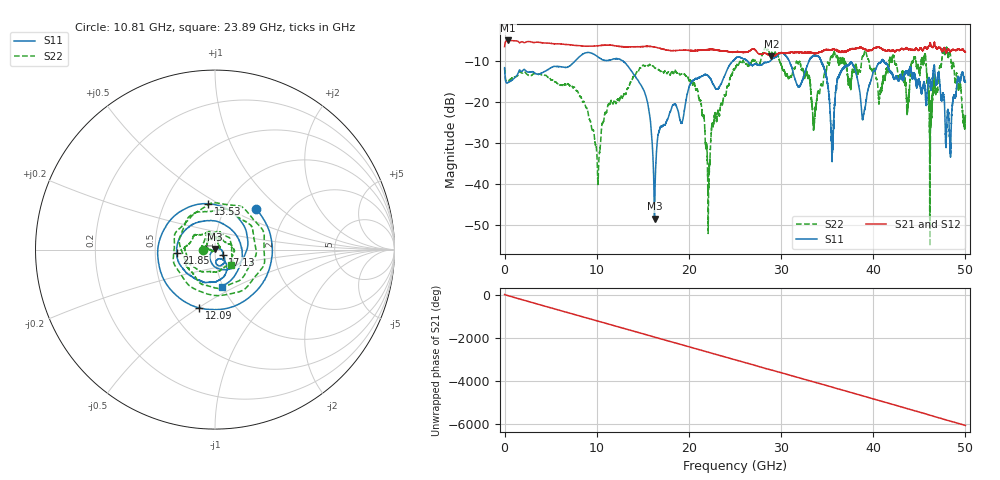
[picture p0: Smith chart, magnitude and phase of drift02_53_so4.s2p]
!Created with skrf (http://scikit-rf.org).
# Hz S RI R 50.0
!freq ReS11 ImS11 ReS21 ImS21 ReS12 ImS12 ReS22 ImS22
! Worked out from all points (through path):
!   10001 points, 300 kHz to 50 GHz, reference 50 ohm
!   highest |S21| = -5.04 dB at 375.3 MHz (marker M1); lowest = -8.9 dB at 28.96 GHz (marker M2)
!   group delay of S21, straight-line fit = 336 ps
!   lowest |S11| = -48.4 dB at 16.27 GHz (marker M3), VSWR 1.01, Z = 49.9 + j0.357 ohm
!   |S11| at or under -10 dB: start of sweep to 7.667 GHz; 12.83 GHz to 24.78 GHz (11.95 GHz wide, 63.6 % of centre); 41.12 GHz to end of sweep (the widest 3 of 11)
!   |S22| runs from -55.1 to -6.7 dB; largest |S21 - S12| = 0.028
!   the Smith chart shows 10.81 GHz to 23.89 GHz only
!   S11 on the Smith chart (normalised r, x): 10.81 GHz: 1.38, +0.70; 12.09 GHz: 0.69, -0.51; 13.53 GHz: 0.82, +0.45; 17.13 GHz: 1.09, -0.06; 21.85 GHz: 0.65, -0.03; 23.89 GHz: 0.99, -0.42
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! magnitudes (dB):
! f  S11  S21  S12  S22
! 300 kHz  -11.7  -6.5  -6.5  -11.8
! 375.3 MHz  -15.2  -5.0  -5.1  -15.0
! 8.335 GHz  -8.6  -6.4  -6.4  -19.1
! 10.11 GHz  -9.0  -6.3  -6.3  -38.5
! 10.81 GHz  -9.9  -6.2  -6.2  -23.7
! 12.09 GHz  -9.5  -6.4  -6.4  -20.4
! 13.53 GHz  -11.7  -6.6  -6.6  -16.0
! 16.27 GHz  -48.4  -6.6  -6.6  -11.7
! 16.67 GHz  -27.8  -6.8  -6.8  -12.1
! 17.13 GHz  -25.9  -7.2  -7.1  -12.4
! 21.85 GHz  -13.4  -7.3  -7.3  -30.4
! 23.89 GHz  -13.6  -7.6  -7.6  -18.3
! 25 GHz  -9.6  -7.8  -7.8  -12.0
! 28.96 GHz  -9.8  -8.9  -8.9  -8.0
! 33.34 GHz  -9.1  -8.0  -8.0  -20.4
! 35.54 GHz  -34.6  -7.4  -7.3  -9.1
! 36.77 GHz  -12.0  -7.9  -8.2  -9.5
! 41.67 GHz  -11.9  -7.4  -7.5  -11.9
! 45.49 GHz  -15.5  -7.1  -7.0  -9.6
! 46.27 GHz  -17.1  -6.3  -6.3  -22.0
! 48.12 GHz  -22.2  -7.3  -7.1  -9.0
! 50 GHz  -15.2  -7.9  -7.9  -23.2
